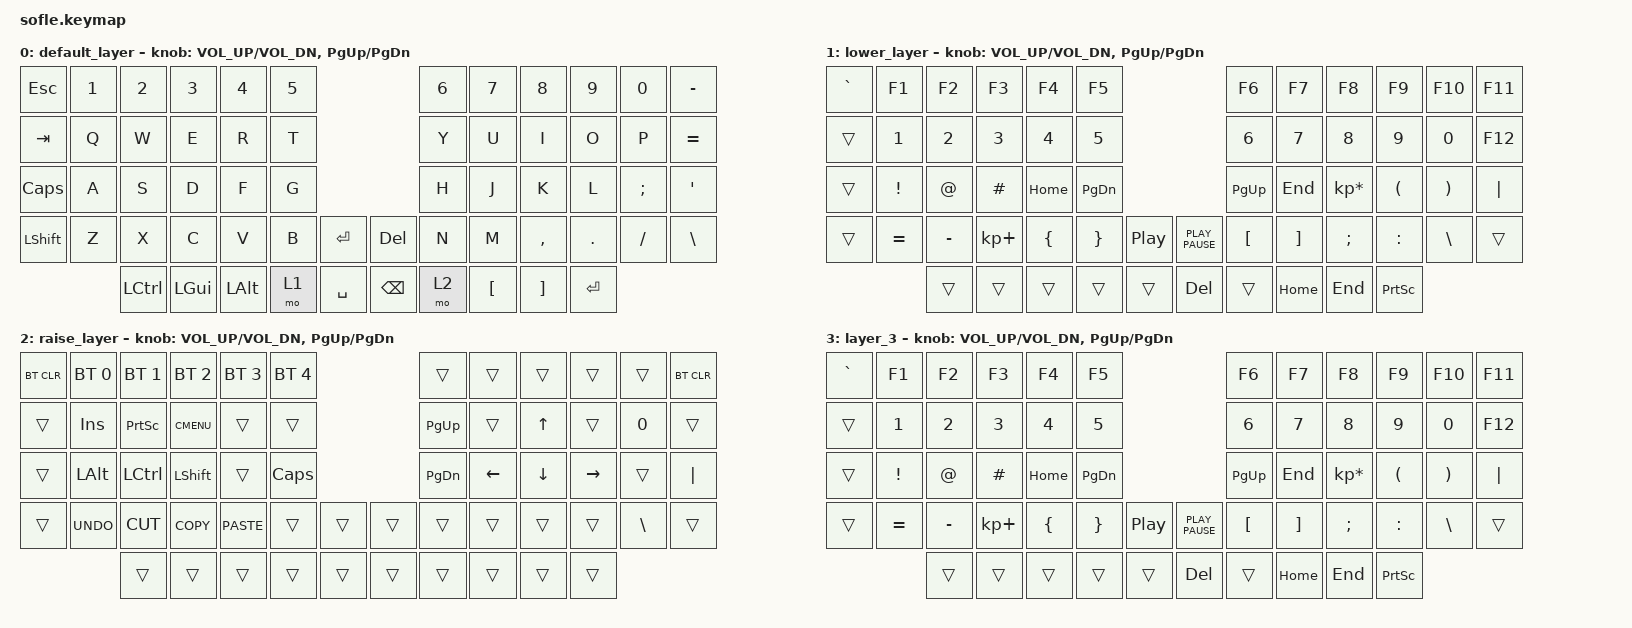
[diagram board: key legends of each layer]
/*
 * Copyright (c) 2020 The ZMK Contributors
 *
 * SPDX-License-Identifier: MIT
 */

#include <behaviors.dtsi>
#include <dt-bindings/zmk/bt.h>
#include <dt-bindings/zmk/keys.h>

// https://zmk.dev/docs/development/hardware-integration/soft-off-setup?advanced-methods=wakeup&kscan-type=dkscan

/ {
    keymap {
        compatible = "zmk,keymap";

        default_layer {
            // ------------------------------------------------------------------------------------------------------------
            // |  `    |  1  |  2  |  3   |  4   |  5   |                         |  6   |  7    |  8    |  9   |   0   |       |
            // |  ESC  |  Q  |  W  |  E   |  R   |  T   |                         |  Y   |  U    |  I    |  O   |   P   | BKSPC |
            // |  TAB  |  A  |  S  |  D   |  F   |  G   |                         |  H   |  J    |  K    |  L   |   ;   |   '   |
            // | SHIFT |  Z  |  X  |  C   |  V   |  B   |  MUTE  |        | ExtPw |  N   |  M    |  ,    |  .   |   /   | SHIFT |
            //               | GUI | ALT  | CTRL | LOWER|  ENTER |        | SPACE | RAISE| CTRL  | ALT   | GUI  |

            bindings = <
&kp ESCAPE    &kp N1  &kp N2            &kp N3        &kp N4        &kp N5                              &kp N6  &kp N7            &kp N8             &kp N9     &kp N0    &kp MINUS
&kp TAB       &kp Q   &kp W             &kp E         &kp R         &kp T                               &kp Y   &kp U             &kp I              &kp O      &kp P     &kp EQUAL
&kp CAPSLOCK  &kp A   &kp S             &kp D         &kp F         &kp G                               &kp H   &kp J             &kp K              &kp L      &kp SEMI  &kp SQT
&kp LSHFT     &kp Z   &kp X             &kp C         &kp V         &kp B   &kp ENTER    &kp DEL        &kp N   &kp M             &kp COMMA          &kp DOT    &kp FSLH  &kp BACKSLASH
                      &kp LEFT_CONTROL  &kp LEFT_GUI  &kp LEFT_ALT  &mo 1   &kp SPACE    &kp BACKSPACE  &mo 2   &kp LEFT_BRACKET  &kp RIGHT_BRACKET  &kp ENTER
            >;

            sensor-bindings = <&inc_dec_kp C_VOL_UP C_VOL_DN &inc_dec_kp PG_UP PG_DN>;
        };

        lower_layer {
            // TODO: Some binds are waiting for shifted keycode support.
            // ------------------------------------------------------------------------------------------------------------
            // |       |  F1 |  F2 |  F3  |  F4  |  F5  |                   |  F6  |  F7   |  F8   |  F9  |  F10  |  F11  |
            // | `     |   1 |   2 |   3  |   4  |   5  |                   |   6  |   7   |   8   |   9  |    0  |  F12  |
            // |       |  !  |  @  |  #   |  $   |  %   |                   |  ^   |  &    |  *    |  (   |   )   |   |   |
            // |       |  =  |  -  |  +   |  {   |  }   |        |  |       |  [   |  ]    |  ;    |  :   |   \   |       |
            //               |     |      |      |      |        |  |       |      |       |       |      |

            bindings = <
&kp GRAVE  &kp F1     &kp F2     &kp F3       &kp F4    &kp F5                                               &kp F6       &kp F7    &kp F8           &kp F9           &kp F10   &kp F11
&trans     &kp N1     &kp N2     &kp N3       &kp N4    &kp N5                                               &kp N6       &kp N7    &kp N8           &kp N9           &kp N0    &kp F12
&trans     &kp EXCL   &kp AT     &kp HASH     &kp HOME  &kp PAGE_DOWN                                        &kp PAGE_UP  &kp END   &kp KP_MULTIPLY  &kp LPAR         &kp RPAR  &kp PIPE
&trans     &kp EQUAL  &kp MINUS  &kp KP_PLUS  &kp LBRC  &kp RBRC       &kp C_PLAY_PAUSE    &kp K_PLAY_PAUSE  &kp LBKT     &kp RBKT  &kp SEMI         &kp COLON        &kp BSLH  &trans
                      &trans     &trans       &trans    &trans         &trans              &kp DEL           &trans       &kp HOME  &kp END          &kp PRINTSCREEN
            >;

            sensor-bindings = <&inc_dec_kp C_VOL_UP C_VOL_DN &inc_dec_kp PG_UP PG_DN>;
        };

        raise_layer {
            // ------------------------------------------------------------------------------------------------------------
            // |BTCLR| BT1  | BT2  |  BT3  |  BT4  |  BT5 |                |      |      |       |      |       |       |
            // |     | INS  | PSCR | GUI   |       |      |                | PGUP |      |   ^   |      |       |       |
            // |     | ALT  | CTRL | SHIFT |       | CAPS |                | PGDN |   <- |   v   |  ->  |  DEL  | BKSPC |
            // |     | UNDO | CUT  | COPY  | PASTE |      |      |  |      |      |      |       |      |       |       |
            //              |      |       |       |      |      |  |      |      |      |       |      |

            bindings = <
&bt BT_CLR  &bt BT_SEL 0  &bt BT_SEL 1  &bt BT_SEL 2  &bt BT_SEL 3  &bt BT_SEL 4                    &trans     &trans    &trans    &trans     &trans         &bt BT_CLR
&trans      &kp INS       &kp PSCRN     &kp K_CMENU   &trans        &trans                          &kp PG_UP  &trans    &kp UP    &trans     &kp N0         &trans
&trans      &kp LALT      &kp LCTRL     &kp LSHFT     &trans        &kp CLCK                        &kp PG_DN  &kp LEFT  &kp DOWN  &kp RIGHT  &trans         &kp PIPE
&trans      &kp K_UNDO    &kp K_CUT     &kp K_COPY    &kp K_PASTE   &trans        &trans    &trans  &trans     &trans    &trans    &trans     &kp BACKSLASH  &trans
                          &trans        &trans        &trans        &trans        &trans    &trans  &trans     &trans    &trans    &trans
            >;

            sensor-bindings = <&inc_dec_kp C_VOL_UP C_VOL_DN &inc_dec_kp PG_UP PG_DN>;
        };

        layer_3 {
            bindings = <
&kp GRAVE  &kp F1     &kp F2     &kp F3       &kp F4    &kp F5                                               &kp F6       &kp F7    &kp F8           &kp F9           &kp F10   &kp F11
&trans     &kp N1     &kp N2     &kp N3       &kp N4    &kp N5                                               &kp N6       &kp N7    &kp N8           &kp N9           &kp N0    &kp F12
&trans     &kp EXCL   &kp AT     &kp HASH     &kp HOME  &kp PAGE_DOWN                                        &kp PAGE_UP  &kp END   &kp KP_MULTIPLY  &kp LPAR         &kp RPAR  &kp PIPE
&trans     &kp EQUAL  &kp MINUS  &kp KP_PLUS  &kp LBRC  &kp RBRC       &kp C_PLAY_PAUSE    &kp K_PLAY_PAUSE  &kp LBKT     &kp RBKT  &kp SEMI         &kp COLON        &kp BSLH  &trans
                      &trans     &trans       &trans    &trans         &trans              &kp DEL           &trans       &kp HOME  &kp END          &kp PRINTSCREEN
            >;

            sensor-bindings =
                <&inc_dec_kp C_VOL_UP C_VOL_DN>,
                <&inc_dec_kp PG_UP PG_DN>;
        };
    };
};
